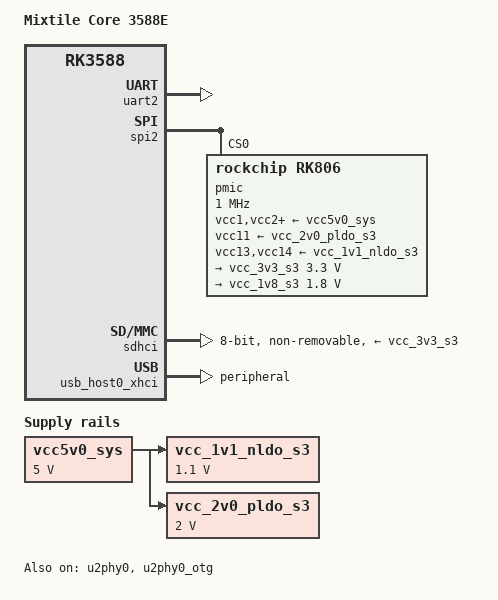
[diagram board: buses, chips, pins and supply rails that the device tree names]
// SPDX-License-Identifier: (GPL-2.0+ OR MIT)
/dts-v1/;

#include <dt-bindings/gpio/gpio.h>
#include <arm64/rockchip/rk3588.dtsi>

/ {
	model = "Mixtile Core 3588E";
	compatible = "mixtile,core3588e", "rockchip,rk3588";

	aliases {
		mmc0 = &sdhci;
		serial2 = &uart2;
	};

	chosen {
		stdout-path = "serial2:1500000n8";
	};

	vcc5v0_sys: regulator-vcc5v0-sys {
		compatible = "regulator-fixed";
		regulator-name = "vcc5v0_sys";
		regulator-always-on;
		regulator-boot-on;
		regulator-min-microvolt = <5000000>;
		regulator-max-microvolt = <5000000>;
	};

	vcc_1v1_nldo_s3: regulator-vcc-1v1-nldo-s3 {
		compatible = "regulator-fixed";
		regulator-name = "vcc_1v1_nldo_s3";
		regulator-always-on;
		regulator-boot-on;
		regulator-min-microvolt = <1100000>;
		regulator-max-microvolt = <1100000>;
		vin-supply = <&vcc5v0_sys>;
	};

	/* the kernel DTS takes this from the PMIC's own dcdc-reg7 */
	vcc_2v0_pldo_s3: regulator-vcc-2v0-pldo-s3 {
		compatible = "regulator-fixed";
		regulator-name = "vcc_2v0_pldo_s3";
		regulator-always-on;
		regulator-boot-on;
		regulator-min-microvolt = <2000000>;
		regulator-max-microvolt = <2000000>;
		vin-supply = <&vcc5v0_sys>;
	};
};

&uart2 {
	pinctrl-0 = <&uart2m0_xfer>;
	status = "okay";
};

&spi2 {
	num-cs = <1>;
	pinctrl-0 = <&spi2m2_cs0>, <&spi2m2_pins>;
	status = "okay";

	pmic@0 {
		compatible = "rockchip,rk806";
		reg = <0x0>;
		spi-max-frequency = <1000000>;

		system-power-controller;

		vcc1-supply = <&vcc5v0_sys>;
		vcc2-supply = <&vcc5v0_sys>;
		vcc3-supply = <&vcc5v0_sys>;
		vcc4-supply = <&vcc5v0_sys>;
		vcc5-supply = <&vcc5v0_sys>;
		vcc6-supply = <&vcc5v0_sys>;
		vcc7-supply = <&vcc5v0_sys>;
		vcc8-supply = <&vcc5v0_sys>;
		vcc9-supply = <&vcc5v0_sys>;
		vcc10-supply = <&vcc5v0_sys>;
		vcc11-supply = <&vcc_2v0_pldo_s3>;
		vcc12-supply = <&vcc5v0_sys>;
		vcc13-supply = <&vcc_1v1_nldo_s3>;
		vcc14-supply = <&vcc_1v1_nldo_s3>;
		vcca-supply = <&vcc5v0_sys>;

		regulators {
			vcc_3v3_s3: dcdc-reg8 {
				regulator-always-on;
				regulator-boot-on;
				regulator-min-microvolt = <3300000>;
				regulator-max-microvolt = <3300000>;
				regulator-name = "vcc_3v3_s3";
			};

			vcc_1v8_s3: dcdc-reg10 {
				regulator-always-on;
				regulator-boot-on;
				regulator-min-microvolt = <1800000>;
				regulator-max-microvolt = <1800000>;
				regulator-name = "vcc_1v8_s3";
			};
		};
	};
};

&sdhci {
	bus-width = <8>;
	no-sd;
	no-sdio;
	non-removable;
	vmmc-supply = <&vcc_3v3_s3>;
	vqmmc-supply = <&vcc_1v8_s3>;
	status = "okay";
};

&sdmmc {
	status = "disabled";
};

&sdio {
	status = "disabled";
};

&u2phy0 {
	status = "okay";
};

&u2phy0_otg {
	status = "okay";
};

&usb_host0_xhci {
	dr_mode = "peripheral";
	maximum-speed = "high-speed";
	status = "okay";
};
